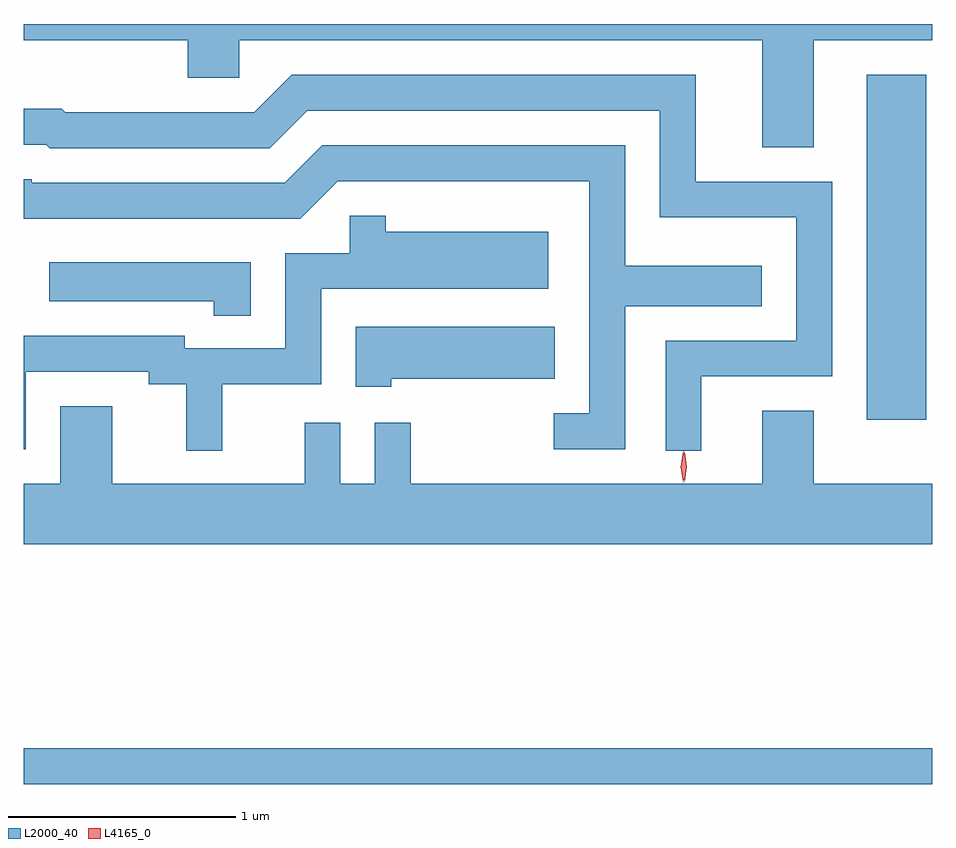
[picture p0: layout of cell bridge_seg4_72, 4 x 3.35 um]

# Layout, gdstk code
import gdstk
lib = gdstk.Library(unit=1e-6, precision=1e-09)
def R(c, l, rs):  # rectangles x0, y0, x1, y1
    for r in rs: c.add(gdstk.rectangle(r[:2], r[2:], *l))
def P(c, l, *ps):  # polygons
    for p in ps: c.add(gdstk.Polygon(p, *l))
L2000_40 = (2000, 40)
L4165_0 = (4165, 0)

bridge_seg4_72 = lib.new_cell('bridge_seg4_72')
R(bridge_seg4_72, L2000_40, [(1674.88,1258.161,1678.88,1258.319), (1678.591,1259.766,1678.854,1261.284)])
P(bridge_seg4_72, L2000_40, [(1678.359,1261.436),(1678.88,1261.436),(1678.88,1261.508),(1674.88,1261.508),(1674.88,1261.436),(1675.601,1261.436),(1675.601,1261.271),(1675.829,1261.271),(1675.829,1261.436),(1678.131,1261.436),(1678.131,1260.966),(1678.359,1260.966)],
  [(1677.864,1259.956),(1678.439,1259.956),(1678.439,1260.814),(1677.839,1260.814),(1677.839,1261.284),(1676.059,1261.284),(1675.894,1261.119),(1675.062,1261.119),(1675.047,1261.134),(1674.88,1261.134),(1674.88,1260.976),(1674.979,1260.976),(1674.994,1260.961),(1675.962,1260.961),(1676.127,1261.126),(1677.681,1261.126),(1677.681,1260.656),(1678.281,1260.656),(1678.281,1260.114),(1677.706,1260.114),(1677.706,1259.628),(1677.864,1259.628)],
  [(1677.529,1260.266),(1678.129,1260.266),(1678.129,1260.444),(1677.529,1260.444),(1677.529,1260.974),(1676.194,1260.974),(1676.029,1260.809),(1674.915,1260.809),(1674.915,1260.824),(1674.88,1260.824),(1674.88,1260.651),(1676.097,1260.651),(1676.262,1260.816),(1677.371,1260.816),(1677.371,1259.794),(1677.213,1259.794),(1677.213,1259.636),(1677.529,1259.636)],
  [(1675.754,1259.921),(1676.189,1259.921),(1676.189,1260.341),(1677.189,1260.341),(1677.189,1260.594),(1676.474,1260.594),(1676.474,1260.663),(1676.316,1260.663),(1676.316,1260.499),(1676.031,1260.499),(1676.031,1260.079),(1675.589,1260.079),(1675.589,1260.134),(1674.88,1260.134),(1674.88,1259.636),(1674.889,1259.636),(1674.889,1259.976),(1675.431,1259.976),(1675.431,1259.921),(1675.596,1259.921),(1675.596,1259.628),(1675.754,1259.628)],
  [(1675.879,1260.459),(1674.991,1260.459),(1674.991,1260.286),(1675.716,1260.286),(1675.716,1260.223),(1675.879,1260.223)],
  [(1676.499,1259.946),(1677.219,1259.946),(1677.219,1260.174),(1676.341,1260.174),(1676.341,1259.911),(1676.499,1259.911)],
  [(1678.88,1259.484),(1678.359,1259.484),(1678.359,1259.804),(1678.131,1259.804),(1678.131,1259.484),(1676.584,1259.484),(1676.584,1259.753),(1676.426,1259.753),(1676.426,1259.484),(1676.274,1259.484),(1676.274,1259.753),(1676.116,1259.753),(1676.116,1259.484),(1675.269,1259.484),(1675.269,1259.824),(1675.041,1259.824),(1675.041,1259.484),(1674.88,1259.484),(1674.88,1259.216),(1678.88,1259.216)])
P(bridge_seg4_72, L4165_0, [(1677.783,1259.488),(1677.783,1259.489),(1677.773,1259.557),(1677.783,1259.626),(1677.783,1259.626),(1677.784,1259.626),(1677.793,1259.557),(1677.784,1259.489)],
  [(1677.79,1259.493),(1677.79,1259.494),(1677.78,1259.558),(1677.789,1259.622),(1677.79,1259.622),(1677.79,1259.622),(1677.8,1259.558),(1677.79,1259.494)])

lib.write_gds('bridge_seg4_72.gds')
